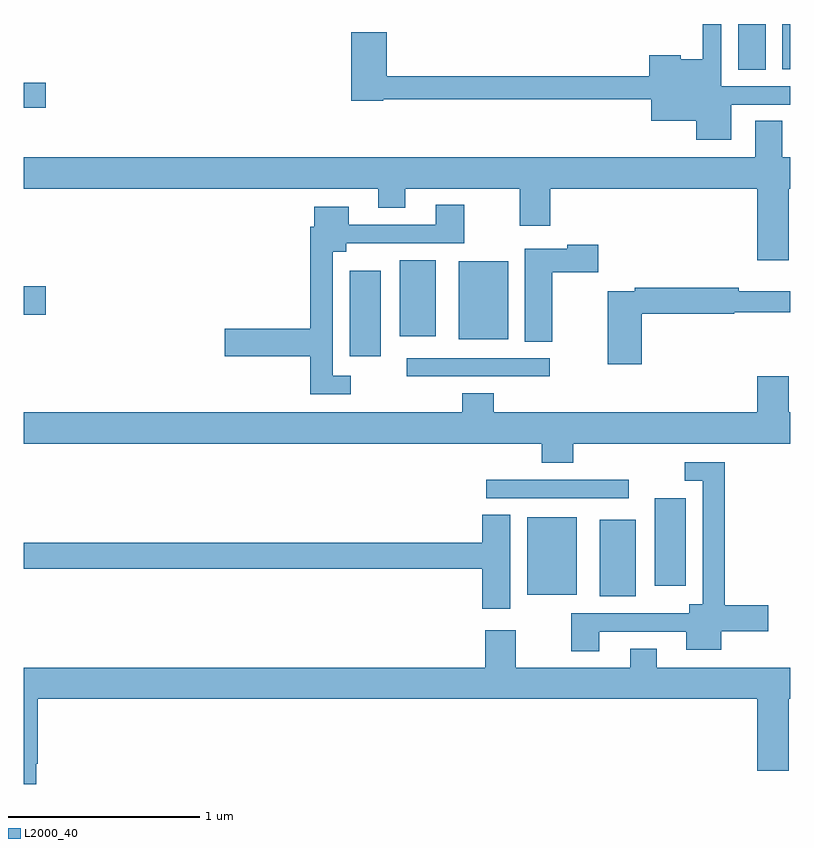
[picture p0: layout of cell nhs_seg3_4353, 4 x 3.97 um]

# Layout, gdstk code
import gdstk
lib = gdstk.Library(unit=1e-6, precision=1e-09)
def R(c, l, rs):  # rectangles x0, y0, x1, y1
    for r in rs: c.add(gdstk.rectangle(r[:2], r[2:], *l))
def P(c, l, *ps):  # polygons
    for p in ps: c.add(gdstk.Polygon(p, *l))
L2000_40 = (2000, 40)

nhs_seg3_4353 = lib.new_cell('nhs_seg3_4353')
R(nhs_seg3_4353, L2000_40, [(344.006,741.413,344.194,741.811), (343.628,741.419,343.885,741.826), (344.294,741.468,344.455,741.925), (343.413,741.924,344.158,742.02), (342.999,742.56,343.744,742.656), (342.701,742.665,342.862,743.113), (343.271,742.754,343.528,743.161), (342.962,742.769,343.15,743.167), (341,742.883,341.113,743.03), (341,743.963,341.113,744.093), (344.729,744.16,344.872,744.4), (344.96,744.164,345,744.4)])
P(nhs_seg3_4353, L2000_40, [(344.692,743.979),(345,743.979),(345,744.075),(344.64,744.075),(344.64,744.4),(344.544,744.4),(344.544,744.217),(344.43,744.217),(344.43,744.238),(344.264,744.238),(344.264,744.127),(342.893,744.127),(342.893,744.358),(342.71,744.358),(342.71,743.998),(342.876,743.998),(342.876,744.006),(344.276,744.006),(344.276,743.894),(344.51,743.894),(344.51,743.795),(344.692,743.795)],
  [(344.992,743.54),(345,743.54),(345,743.704),(344.959,743.704),(344.959,743.894),(344.819,743.894),(344.819,743.704),(341,743.704),(341,743.54),(342.851,743.54),(342.851,743.441),(342.991,743.441),(342.991,743.54),(343.588,743.54),(343.588,743.346),(343.748,743.346),(343.748,743.54),(344.828,743.54),(344.828,743.166),(344.992,743.166)],
  [(342.706,742.563),(342.612,742.563),(342.612,743.21),(342.682,743.21),(342.682,743.256),(343.299,743.256),(343.299,743.455),(343.151,743.455),(343.151,743.352),(342.697,743.352),(342.697,743.446),(342.515,743.446),(342.515,743.342),(342.496,743.342),(342.496,742.808),(342.048,742.808),(342.048,742.666),(342.496,742.666),(342.496,742.467),(342.706,742.467)],
  [(343.758,743.105),(343.999,743.105),(343.999,743.247),(343.836,743.247),(343.836,743.227),(343.616,743.227),(343.616,742.741),(343.758,742.741)],
  [(344.225,742.888),(344.708,742.888),(344.708,742.896),(345,742.896),(345,743.005),(344.732,743.005),(344.732,743.024),(344.188,743.024),(344.188,743.004),(344.047,743.004),(344.047,742.623),(344.225,742.623)],
  [(343.868,742.208),(345,742.208),(345,742.372),(344.992,742.372),(344.992,742.561),(344.828,742.561),(344.828,742.372),(343.454,742.372),(343.454,742.471),(343.289,742.471),(343.289,742.372),(341,742.372),(341,742.208),(343.703,742.208),(343.703,742.109),(343.868,742.109)],
  [(344.005,741.228),(344.459,741.228),(344.459,741.134),(344.641,741.134),(344.641,741.23),(344.887,741.23),(344.887,741.365),(344.66,741.365),(344.66,742.113),(344.451,742.113),(344.451,742.016),(344.544,742.016),(344.544,741.37),(344.474,741.37),(344.474,741.324),(343.858,741.324),(343.858,741.126),(344.005,741.126)],
  [(343.54,741.839),(343.394,741.839),(343.394,741.692),(341,741.692),(341,741.556),(343.394,741.556),(343.394,741.348),(343.54,741.348)],
  [(341.064,740.539),(341.071,740.539),(341.071,740.876),(344.828,740.876),(344.828,740.502),(344.992,740.502),(344.992,740.876),(345,740.876),(345,741.04),(344.305,741.04),(344.305,741.139),(344.165,741.139),(344.165,741.04),(343.569,741.04),(343.569,741.235),(343.409,741.235),(343.409,741.04),(341,741.04),(341,740.432),(341.064,740.432)])

lib.write_gds('nhs_seg3_4353.gds')
